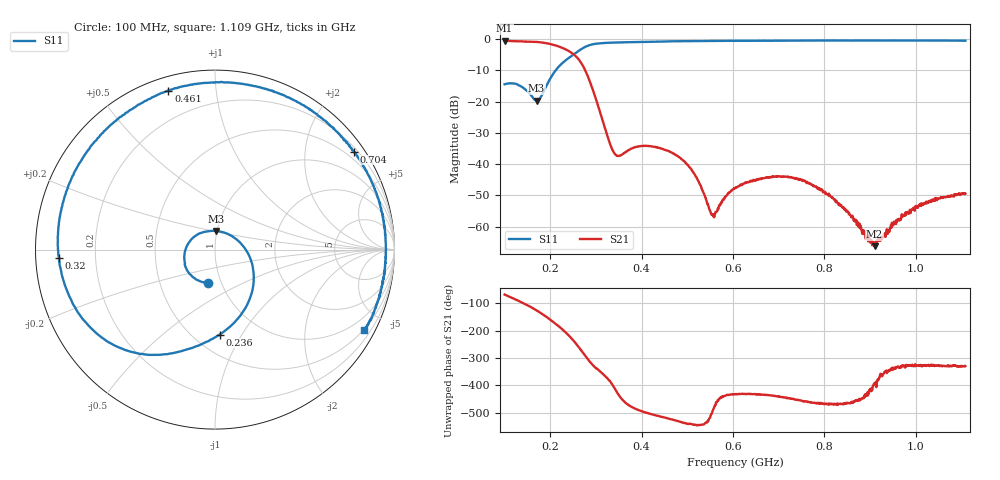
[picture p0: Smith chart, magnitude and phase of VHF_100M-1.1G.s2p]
# HZ S RI R 50
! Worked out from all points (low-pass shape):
!   1010 points, 100 MHz to 1.109 GHz, reference 50 ohm
!   highest |S21| = -0.49 dB at 100 MHz (marker M1); lowest = -66.3 dB at 910 MHz (marker M2)
!   |S21| within 3 dB of the highest: start of sweep to 236.7 MHz
!   lowest |S11| = -19.7 dB at 170 MHz (marker M3), VSWR 1.23, Z = 49.6 + j10.4 ohm
!   |S11| at or under -10 dB: start of sweep to 211.6 MHz
!   S12 and S22 are empty: the file has one direction only
!   S11 on the Smith chart (normalised r, x): 100 MHz: 0.86, -0.33; 236 MHz: 0.66, -0.81; 320 MHz: 0.07, -0.03; 461 MHz: 0.06, +0.75; 704 MHz: 0.29, +3.13; 1.109 GHz: 0.46, -3.91
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1e8  -0.0414 -0.1852  0.3662 -0.8717  0 0  0 0
1.38e8  -0.1698 -0.0255  -0.0993 -0.9163  0 0  0 0
1.7e8  0.00686 0.1038  -0.5218 -0.7379  0 0  0 0
2.05e8  0.2162 -0.1609  -0.7933 -0.2074  0 0  0 0
2.36e8  0.0261 -0.473  -0.585 0.3332  0 0  0 0
2.54e8  -0.1746 -0.5615  -0.256 0.4862  0 0  0 0
2.69e8  -0.3888 -0.5843  0.0353 0.4007  0 0  0 0
2.94e8  -0.7384 -0.3851  0.1247 0.0808  0 0  0 0
3.2e8  -0.8694 -0.0465  0.0369 -0.00358  0 0  0 0
3.47e8  -0.85 0.2533  0.00509 -0.0126  0 0  0 0
4.37e8  -0.4032 0.8189  -0.0161 -0.00851  0 0  0 0
4.61e8  -0.2595 0.885  -0.0151 -0.00467  0 0  0 0
5.12e8  0.0378 0.934  -0.00759 0.00035  0 0  0 0
5.55e8  0.2596 0.9012  -0.00111 -0.00107  0 0  0 0
6.05e8  0.4782 0.8116  0.00125 -0.00391  0 0  0 0
7.04e8  0.7743 0.5465  0.000806 -0.00626  0 0  0 0
7.73e8  0.8898 0.339  -0.00104 -0.00455  0 0  0 0
8.41e8  0.9412 0.1416  -0.00064 -0.00187  0 0  0 0
9.1e8  0.9499 -0.0411  0.000412 -0.000255  0 0  0 0
9.41e8  0.9446 -0.1206  0.000853 0.000236  0 0  0 0
1.012e9  0.912 -0.2733  0.00182 0.00109  0 0  0 0
1.109e9  0.8322 -0.449  0.00287 0.00172  0 0  0 0
